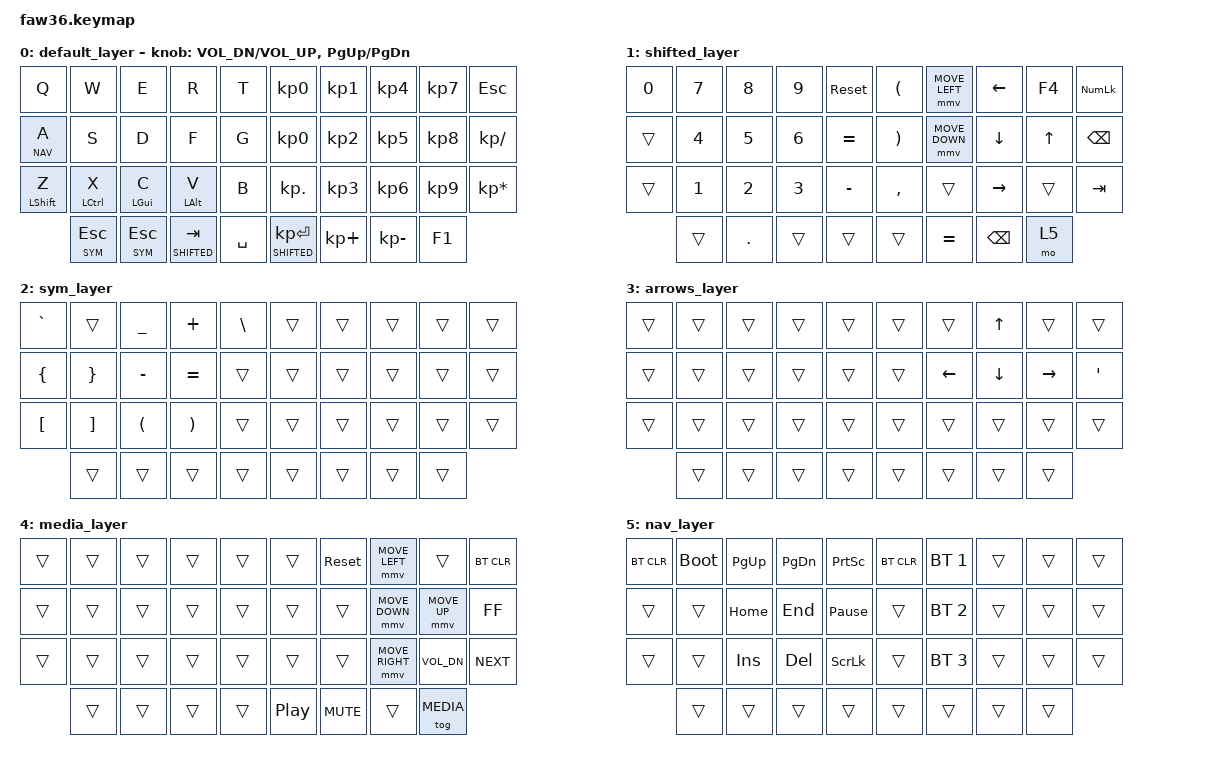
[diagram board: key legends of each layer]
/*
 * Copyright (c) 2020 The ZMK Contributors
 *
 * SPDX-License-Identifier: MIT
 */

#include <behaviors.dtsi>
#include <dt-bindings/zmk/keys.h>
#include <dt-bindings/zmk/bt.h>
#include <dt-bindings/zmk/pointing.h>

#define QWERTY 0
#define SHIFTED 1
#define SYM 2
#define ARROWS 3
#define MEDIA 4
#define NAV 5

&mt {
    tapping-term-ms = <300>;
    flavor = "tap-preferred";
};

/ {
    keymap {
        compatible = "zmk,keymap";

        default_layer {
/* Qwerty
 * ,----------------------------------.        ,----------------------------------.
 * |   Q  |   W  |   E  |   R  |   T  |        |   Y  |   U  |   I  |   O  |   P  |
 * |------+------+------+------+------|        |------+------+------+------+------|
 * |   A  |   S  |   D  |   F  |   G  |        |   H  |   J  |   K  |   L  |   ;  |
 * |------+------+------+------+------|        |------+------+------+------+------|
 * |   Z  |   X  |   C  |   V  |   B  |        |   N  |   M  |   ,  |   .  |   /  |
 * `-------------+------+------+------|        |------+------+------+-------------'
 *               |F_SYM |F_SHIFTED | Space|        | Bspc |F_ARR |F_MED |
 *               `--------------------'        `--------------------'
 */
                        bindings = <
    &kp Q       &kp W       &kp E       &kp R       &kp T               &kp KP_N0            &kp KP_N1      &kp KP_N4         &kp KP_N7           &kp ESC
    &lt NAV A   &kp S       &kp D       &kp F       &kp G               &kp KP_N0            &kp KP_N2      &kp KP_N5          &kp KP_N8       &kp KP_DIVIDE
    &mt LSHFT Z &mt LCTRL X &mt LGUI C  &mt LALT V  &kp B               &kp KP_DOT           &kp KP_N3      &kp KP_N6         &kp KP_N9        &kp KP_MULTIPLY
                &lt SYM ESC &lt SYM ESC &lt SHIFTED TAB &kp SPACE       &lt SHIFTED KP_ENTER &kp KP_PLUS    &kp KP_MINUS    &kp F1
                >;
            sensor-bindings = <&inc_dec_kp C_VOL_DN C_VOL_UP &inc_dec_kp PG_UP PG_DN>;
        };
        shifted_layer {
/* SHIFTED
 * ,----------------------------------.        ,----------------------------------.
 * |   0  |   7  |   8  |   9  |RESET |        |  F1  |  F2  |  F3  |  F4  |  F5  |
 * |------+------+------+------+------|        |------+------+------+------+------|
 * |      |   4  |   5  |   6  |   =  |        |  F6  |  F7  |  F8  |  F9  |  F10 |
 * |------+------+------+------+------|        |------+------+------+------+------|
 * |      |   1  |   2  |   3  |   -  |        |  F11 | AF12 |      |      |      |
 * `-------------+------+------+------|        |------+------+------+-------------'
 *               |   .  |      |      |        |      |      |      |
 *               `--------------------'        `--------------------'
*/
                        bindings = <
    &kp N0 &kp N7 &kp N8  &kp N9 &sys_reset                      &kp LPAR  &mmv MOVE_LEFT      &kp LEFT &kp F4 &kp KP_NUMLOCK
    &trans &kp N4 &kp N5  &kp N6 &kp EQUAL                       &kp RPAR  &mmv MOVE_DOWN       &kp DOWN &kp UP &kp BACKSPACE
    &trans &kp N1 &kp N2  &kp N3 &kp MINUS                       &kp COMMA &trans      &kp RIGHT &trans &kp TAB
          &trans  &kp DOT &trans &trans                          &trans  &kp EQUAL &kp BACKSPACE &mo 5 
                >;
        };
        sym_layer {
/* Symbols
 * ,----------------------------------.        ,----------------------------------.
 * |   `  |      |   _  |   +  |   \  |        |      |      |      |      |      |
 * |------+------+------+------+------|        |------+------+------+------+------|
 * |   {  |   }  |   -  |   =  |      |        |      |      |      |      |      |
 * |------+------+------+------+------|        |------+------+------+------+------|
 * |   [  |   ]  |   (  |   )  |      |        |      |      |      |      |      |
 * `-------------+------+------+------|        |------+------+------+-------------'
 *               |      |      |      |        |      |      |      |
 *               `--------------------'        `--------------------'
 */
                        bindings = <
    &kp GRAVE  &trans   &kp UNDER &kp PLUS  &kp BSLH   &trans &trans &trans &trans &trans
    &kp LBRC   &kp RBRC &kp MINUS &kp EQUAL &trans     &trans &trans &trans &trans &trans
    &kp LBKT   &kp RBKT &kp LPAR  &kp RPAR  &trans     &trans &trans &trans &trans &trans
               &trans  &trans    &trans    &trans     &trans &trans &trans &trans
                >;
        };
        arrows_layer {
/* Arrows
 * ,----------------------------------.        ,----------------------------------.
 * |      |      |      |      |      |        |      |      |  Up  |      |      |
 * |------+------+------+------+------|        |------+------+------+------+------|
 * |      |      |      |      |      |        |      | Left | Down | Right|   '  |
 * |------+------+------+------+------|        |------+------+------+------+------|
 * |      |      |      |      |      |        |      |      |      |      |      |
 * `-------------+------+------+------|        |------+------+------+-------------'
 *               |      |      |      |        |      |      |      |
 *               `--------------------'        `--------------------'
 */
                        bindings = <
    &trans &trans &trans &trans &trans   &trans     &trans   &kp UP    &trans    &trans
    &trans &trans &trans &trans &trans   &trans &kp LEFT &kp DOWN &kp RIGHT &kp APOS
    &trans &trans &trans &trans &trans   &trans     &trans   &trans    &trans    &trans
           &trans &trans &trans &trans   &trans     &trans   &trans &trans
                >;
        };
        media_layer {
/* Media
 * ,----------------------------------.        ,----------------------------------.
 * |      |      |      |      |      |        |      |RESET |      |      |      |
 * |------+------+------+------+------|        |------+------+------+------+------|
 * |      |      |      |      |      |        |      |BT_CLR|PTrack| Vol+ |NTrack|
 * |------+------+------+------+------|        |------+------+------+------+------|
 * |      |      |      |      |      |        |      |      | Prev | Vol- | Next |
 * `-------------+------+------+------|        |------+------+------+-------------'
 *               |      |      |      |        | Play | Mute |      |
 *               `--------------------'        `--------------------'
 */
                        bindings = <
    &trans &trans &trans &trans &trans   &trans   &sys_reset  &mmv MOVE_LEFT     &trans       &bt BT_CLR
    &trans &trans &trans &trans &trans   &trans   &trans      &mmv MOVE_DOWN   &mmv MOVE_UP &kp C_FF
    &trans &trans &trans &trans &trans   &trans   &trans      &mmv MOVE_RIGHT &kp C_VOL_DN &kp C_NEXT
           &trans &trans &trans &trans   &kp C_PP &kp C_MUTE &trans &tog MEDIA 
                >;
        };
        nav_layer {
/* Bluetooth
 * ,----------------------------------.        ,----------------------------------.
 * |BT_CLR| BOOT | PgUp | PgDn | Pscr |        | BT_CLR |  BT_1     |      |      |      |
 * |------+------+------+------+------|        |------+------+------+------+------|
 * |      |      | Home |  End | Paus |        |      | BT_2   |      |      |      |
 * |------+------+------+------+------|        |------+------+------+------+------|
 * |      |      | Ins  |  Del | Slck |        |      |      |      |      |      |
 * `-------------+------+------+------|        |------+------+------+-------------'
 *               |      |      |      |        |      |      |      |
 *               `--------------------'        `--------------------'
 */
                        bindings = <
    &bt BT_CLR &bootloader &kp PG_UP &kp PG_DN &kp PSCRN         &bt BT_CLR &bt BT_SEL 1 &trans &trans &trans
    &trans     &trans      &kp HOME  &kp END   &kp PAUSE_BREAK   &trans &bt BT_SEL 2 &trans &trans &trans
    &trans     &trans      &kp INS   &kp DEL   &kp SLCK          &trans &bt BT_SEL 3 &trans &trans &trans
              &trans    &trans    &trans    &trans                &trans &trans &trans &trans
                >;
        };
    };
};
